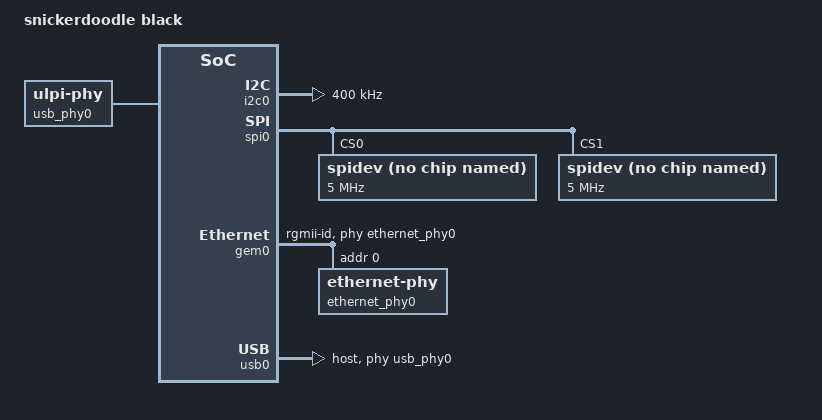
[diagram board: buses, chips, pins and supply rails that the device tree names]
/**
 * Copyright (c) 2016 krtkl inc.
 *
 * snickerdoodle black birddog studio device tree source
 *
 * This program is free software; you can redistribute it and/or modify it
 * under the terms of the GNU General Public License version 2 as published by
 * the Free Software Foundation.
 */

/dts-v1/;
/include/ "snickerdoodle-black.dtsi"

/ {
	model = "snickerdoodle black";

	aliases {
		ethernet0 = &gem0;
	};

	reserved-memory {
		#address-cells = <1>;
		#size-cells = <1>;
		ranges;
		
		sdi_mem: video@20000000 {
			reg = <0x20000000 0x017bb000>;
		};

		hdmi_mem: video@217bb000 {
			reg = <0x217bb000 0x017bb000>;
		};

		codec_mem: codec@3f000000 {
			reg = <0x3f000000 0x3fffffff>;
		};
	};

        usb_phy0: phy0 {
                compatible = "ulpi-phy";
                #phy-cells = <0>;
		view-port = <0x0170>;
		drv-vbus;
        };
};

&i2c0 {
	status = "okay";
	clock-frequency = <400000>;
};

&spi0 {
        status = "okay";

        spidev@0 {
                compatible = "linux,spidev";
                spi-max-frequency = <5000000>;
                reg = <0>;
        };

        spidev@1 {
                compatible = "linux,spidev";
                spi-max-frequency = <5000000>;
                reg = <1>;
        };
};

&gem0 {
	status = "okay";
	phy-handle = <&ethernet_phy0>;
	phy-mode = "rgmii-id";

	ethernet_phy0: ethernet-phy@0 {
		device_type = "ethernet-phy";
		reg = <0>;
	};
};

&usb0 {
	status = "okay";
	dr_mode = "host";
	usb-phy = <&usb_phy0>;
};

&amba {	
	sdi_vdma: axivdma@43000000 {
		compatible = "xlnx,axi-vdma-1.00.a";
		interrupt-parent = <&intc>;
		#address-cells = <1>;
		#size-cells = <1>;
		#dma-cells = <1>;
		#dma-channels = <1>;
		reg = <0x43000000 0x10000>;
		xlnx,num-fstores = <1>;
		xlnx,flush-fsync = <1>;

		dma-channel1@43000000 {
			compatible = "xlnx,axi-vdma-s2mm-channel";
			interrupts = <0 30 4>;
			xlnx,datawidth = <64>;
			xlnx,genlock-mode = <0>;
			xlnx,include-dre = <0>;
		};
	};

	hdmi_vdma: axivdma@43010000 {
		compatible = "xlnx,axi-vdma-1.00.a";
		interrupt-parent = <&intc>;
		#address-cells = <1>;
		#size-cells = <1>;
		#dma-cells = <1>;
		#dma-channels = <1>;
		reg = <0x43010000 0x10000>;
		xlnx,num-fstores = <1>;
		xlnx,flush-fsync = <1>;

		dma-channel1@43000000 {
			compatible = "xlnx,axi-vdma-s2mm-channel";
			interrupts = <0 31 4>;
			xlnx,datawidth = <64>;
			xlnx,genlock-mode = <0>;
			xlnx,include-dre = <0>;
		};
	};

	codec_vdma: axivdma@43020000 {
		compatible = "xlnx,axi-vdma-1.00.a";
		interrupt-parent = <&intc>;
		#address-cells = <1>;
		#size-cells = <1>;
		#dma-cells = <1>;
		#dma-channels = <1>;
		reg = <0x43020000 0x10000>;
		xlnx,num-fstores = <1>;
		xlnx,flush-fsync = <1>;

		dma-channel1@43000000 {
			compatible = "xlnx,axi-vdma-s2mm-channel";
			interrupts = <0 32 4>;
			xlnx,datawidth = <64>;
			xlnx,genlock-mode = <0>;
			xlnx,include-dre = <0>;
		};
	};

	krtkl_video@43C20000 {
		compatible = "krtkl,krtkl_video";
		reg = <0x43c20000 0x10000>;
		dma-names = "video_sdi", "video_hdmi";
		dmas = <&sdi_vdma 0x1 &hdmi_vdma 0x1>;
		memory-region_sdi = <&sdi_mem>;
		memory-region_hdmi = <&hdmi_mem>;
	};

	krtkl_scaler {
		compatible = "krtkl,krtkl_scaler";
		dma-names = "video_scaler";
		dmas = <&codec_vdma 0x1>;
	};	
};
